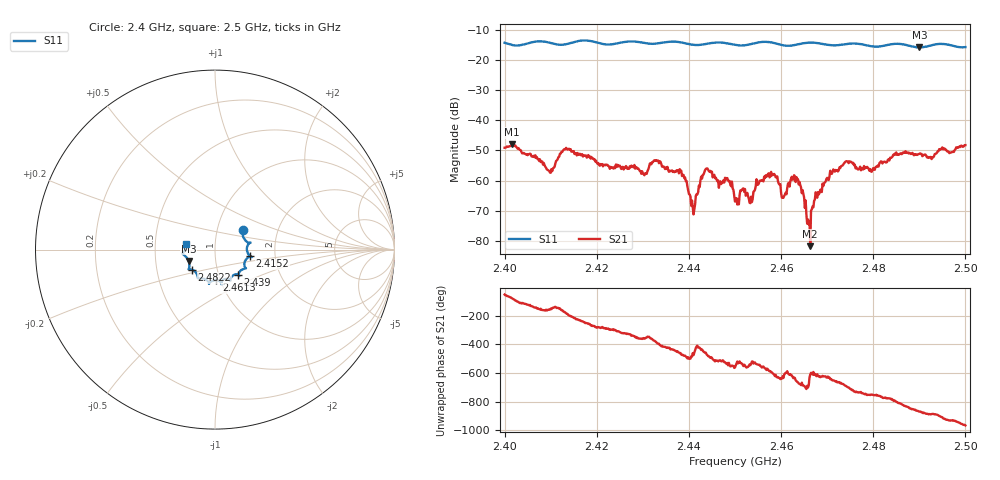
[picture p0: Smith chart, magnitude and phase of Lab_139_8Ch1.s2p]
# Hz S RI R 50
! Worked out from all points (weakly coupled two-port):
!   601 points, 2.4 GHz to 2.5 GHz, reference 50 ohm
!   highest |S21| = -47.95 dB at 2.4017 GHz (marker M1); lowest = -81.7 dB at 2.4663 GHz (marker M2)
!   lowest |S11| = -15.9 dB at 2.49 GHz (marker M3), VSWR 1.38, Z = 36.9 - j4.85 ohm
!   |S11| at or under -10 dB: start of sweep to end of sweep
!   S12 and S22 are empty: the file has one direction only
!   S11 on the Smith chart (normalised r, x): 2.4 GHz: 1.33, +0.31; 2.4152 GHz: 1.48, -0.11; 2.439 GHz: 1.24, -0.36; 2.4613 GHz: 0.96, -0.34; 2.4822 GHz: 0.76, -0.17; 2.5 GHz: 0.72, +0.05
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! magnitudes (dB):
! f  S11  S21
! 2.4 GHz  -14.4  -49.1
! 2.4017 GHz  -15.1  -48.0
! 2.4098 GHz  -14.4  -57.3
! 2.4152 GHz  -14.1  -51.2
! 2.4167 GHz  -13.6  -51.6
! 2.4302 GHz  -14.4  -57.8
! 2.4333 GHz  -14.5  -53.4
! 2.439 GHz  -14.5  -59.2
! 2.4408 GHz  -15.0  -68.9
! 2.4438 GHz  -14.7  -56.0
! 2.45 GHz  -15.0  -66.9
! 2.4533 GHz  -14.8  -67.4
! 2.4577 GHz  -14.2  -58.6
! 2.4613 GHz  -15.3  -62.4
! 2.4638 GHz  -14.8  -61.3
! 2.4663 GHz  -14.3  -81.7
! 2.4667 GHz  -14.3  -69.5
! 2.4712 GHz  -15.2  -57.1
! 2.4822 GHz  -15.4  -53.8
! 2.4833 GHz  -15.0  -52.9
! 2.49 GHz  -15.9  -51.1
! 2.5 GHz  -15.8  -48.2
